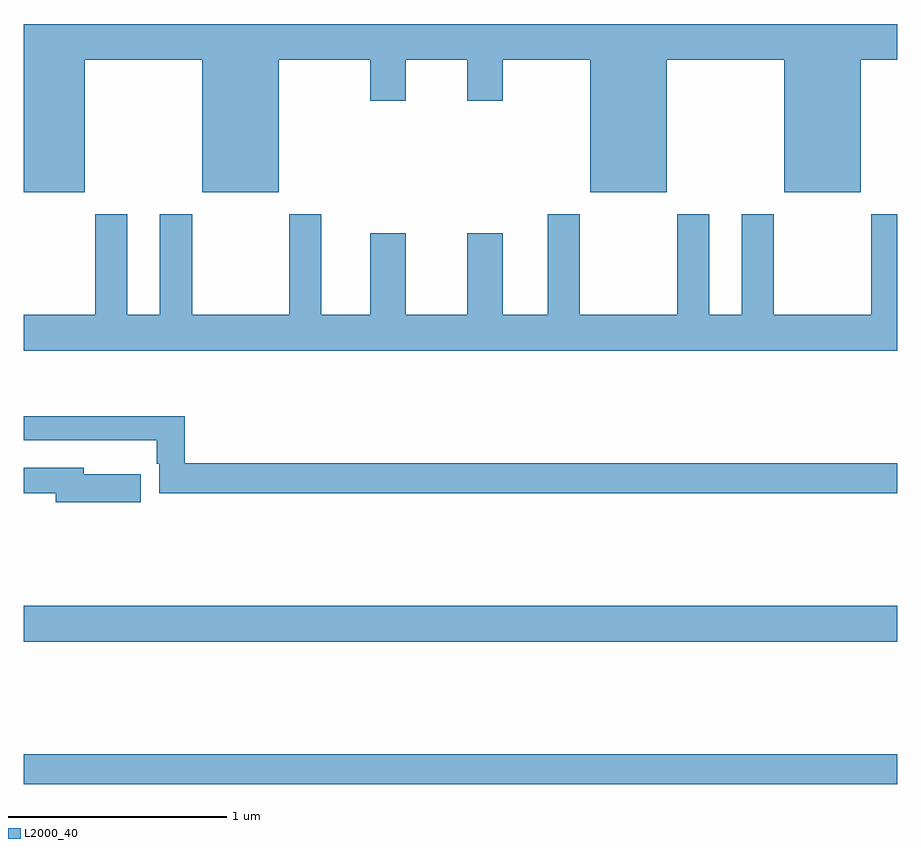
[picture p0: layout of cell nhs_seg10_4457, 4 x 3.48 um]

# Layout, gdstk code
import gdstk
lib = gdstk.Library(unit=1e-6, precision=1e-09)
def R(c, l, rs):  # rectangles x0, y0, x1, y1
    for r in rs: c.add(gdstk.rectangle(r[:2], r[2:], *l))
def P(c, l, *ps):  # polygons
    for p in ps: c.add(gdstk.Polygon(p, *l))
L2000_40 = (2000, 40)

nhs_seg10_4457 = lib.new_cell('nhs_seg10_4457')
R(nhs_seg10_4457, L2000_40, [(363,1324.972,367,1325.108), (363,1325.624,367,1325.788)])
P(nhs_seg10_4457, L2000_40, [(363.28,1328.288),(363.818,1328.288),(363.818,1327.682),(364.168,1327.682),(364.168,1328.288),(364.586,1328.288),(364.586,1328.1),(364.75,1328.1),(364.75,1328.288),(365.03,1328.288),(365.03,1328.1),(365.194,1328.1),(365.194,1328.288),(365.594,1328.288),(365.594,1327.682),(365.944,1327.682),(365.944,1328.288),(366.482,1328.288),(366.482,1327.682),(366.832,1327.682),(366.832,1328.288),(367,1328.288),(367,1328.452),(363,1328.452),(363,1327.682),(363.28,1327.682)],
  [(367,1327.582),(366.88,1327.582),(366.88,1327.12),(366.435,1327.12),(366.435,1327.582),(366.287,1327.582),(366.287,1327.12),(366.139,1327.12),(366.139,1327.582),(365.992,1327.582),(365.992,1327.12),(365.547,1327.12),(365.547,1327.582),(365.399,1327.582),(365.399,1327.12),(365.194,1327.12),(365.194,1327.495),(365.03,1327.495),(365.03,1327.12),(364.75,1327.12),(364.75,1327.495),(364.586,1327.495),(364.586,1327.12),(364.363,1327.12),(364.363,1327.582),(364.216,1327.582),(364.216,1327.12),(363.771,1327.12),(363.771,1327.582),(363.623,1327.582),(363.623,1327.12),(363.475,1327.12),(363.475,1327.582),(363.328,1327.582),(363.328,1327.12),(363,1327.12),(363,1326.956),(367,1326.956)],
  [(367,1326.44),(363.737,1326.44),(363.737,1326.655),(363,1326.655),(363,1326.546),(363.37,1326.546),(363.37,1326.545),(363.609,1326.545),(363.609,1326.438),(363.621,1326.438),(363.621,1326.304),(367,1326.304)],
  [(363.535,1326.391),(363.274,1326.391),(363.274,1326.42),(363,1326.42),(363,1326.304),(363.146,1326.304),(363.146,1326.262),(363.535,1326.262)])

lib.write_gds('nhs_seg10_4457.gds')
